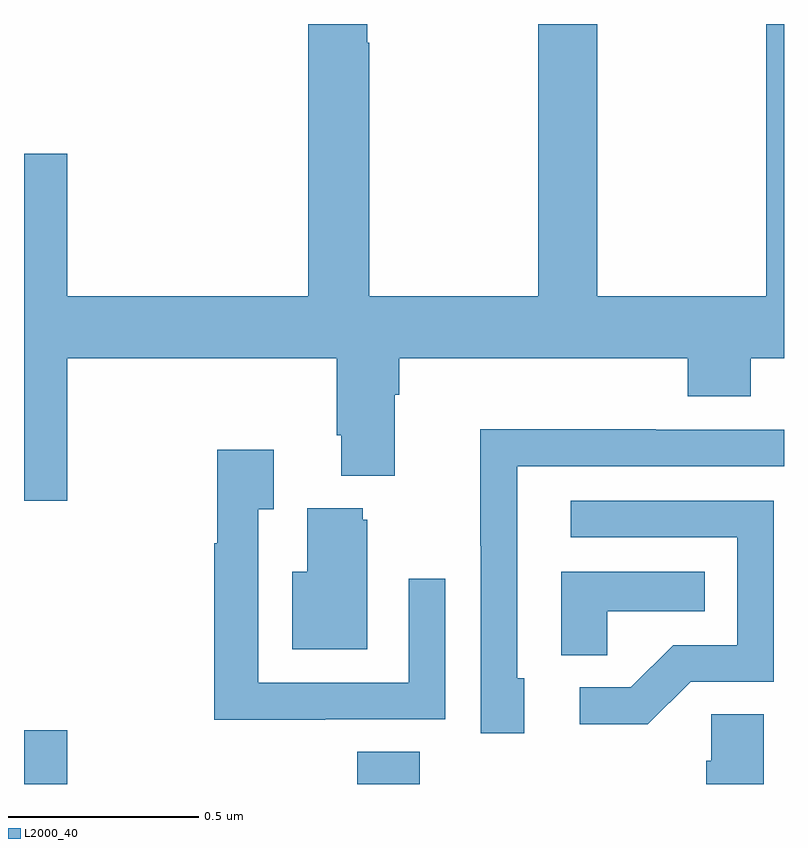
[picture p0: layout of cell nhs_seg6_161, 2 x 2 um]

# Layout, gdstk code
import gdstk
lib = gdstk.Library(unit=1e-6, precision=1e-09)
def R(c, l, rs):  # rectangles x0, y0, x1, y1
    for r in rs: c.add(gdstk.rectangle(r[:2], r[2:], *l))
def P(c, l, *ps):  # polygons
    for p in ps: c.add(gdstk.Polygon(p, *l))
L2000_40 = (2000, 40)

nhs_seg6_161 = lib.new_cell('nhs_seg6_161')
R(nhs_seg6_161, L2000_40, [(112,995.5,112.114,995.641), (112.877,995.5,113.042,995.585)])
P(nhs_seg6_161, L2000_40, [(112.114,996.62),(112.823,996.62),(112.823,996.418),(112.835,996.418),(112.835,996.311),(112.975,996.311),(112.975,996.524),(112.988,996.524),(112.988,996.62),(113.747,996.62),(113.747,996.521),(113.912,996.521),(113.912,996.62),(114,996.62),(114,997.5),(113.953,997.5),(113.953,996.784),(113.508,996.784),(113.508,997.5),(113.353,997.5),(113.353,996.784),(112.908,996.784),(112.908,997.451),(112.903,997.451),(112.903,997.5),(112.748,997.5),(112.748,996.784),(112.114,996.784),(112.114,997.159),(112,997.159),(112,996.246),(112.114,996.246)],
  [(113.317,995.778),(113.298,995.778),(113.298,996.336),(114,996.336),(114,996.432),(113.663,996.432),(113.663,996.434),(113.2,996.434),(113.2,996.127),(113.202,996.127),(113.202,995.634),(113.317,995.634)],
  [(112.793,995.67),(113.109,995.67),(113.109,996.04),(113.013,996.04),(113.013,995.766),(112.617,995.766),(112.617,996.223),(112.657,996.223),(112.657,996.379),(112.509,996.379),(112.509,996.134),(112.501,996.134),(112.501,995.669),(112.793,995.669)],
  [(113.754,995.769),(113.973,995.769),(113.973,996.246),(113.439,996.246),(113.439,996.15),(113.877,996.15),(113.877,995.865),(113.708,995.865),(113.597,995.754),(113.463,995.754),(113.463,995.657),(113.641,995.657)],
  [(112.903,996.195),(112.892,996.195),(112.892,996.226),(112.745,996.226),(112.745,996.058),(112.706,996.058),(112.706,995.855),(112.903,995.855)],
  [(113.535,995.954),(113.792,995.954),(113.792,996.058),(113.414,996.058),(113.414,995.839),(113.535,995.839)],
  [(113.947,995.684),(113.808,995.684),(113.808,995.561),(113.795,995.561),(113.795,995.5),(113.947,995.5)])

lib.write_gds('nhs_seg6_161.gds')
